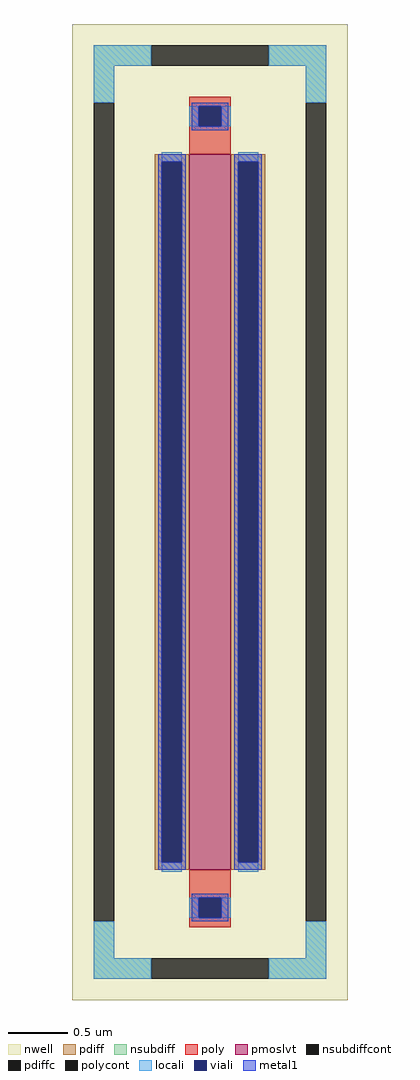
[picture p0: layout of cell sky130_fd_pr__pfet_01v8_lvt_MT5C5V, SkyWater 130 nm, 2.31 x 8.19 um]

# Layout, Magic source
magic
tech sky130A
magscale 1 2
<< nwell >>
rect -231 -819 231 819
<< pmoslvt >>
rect -35 -600 35 600
<< pdiff >>
rect -93 588 -35 600
rect -93 -588 -81 588
rect -47 -588 -35 588
rect -93 -600 -35 -588
rect 35 588 93 600
rect 35 -588 47 588
rect 81 -588 93 588
rect 35 -600 93 -588
<< pdiffc >>
rect -81 -588 -47 588
rect 47 -588 81 588
<< nsubdiff >>
rect -195 749 -99 783
rect 99 749 195 783
rect -195 687 -161 749
rect 161 687 195 749
rect -195 -749 -161 -687
rect 161 -749 195 -687
rect -195 -783 -99 -749
rect 99 -783 195 -749
<< nsubdiffcont >>
rect -99 749 99 783
rect -195 -687 -161 687
rect 161 -687 195 687
rect -99 -783 99 -749
<< poly >>
rect -35 681 35 697
rect -35 647 -19 681
rect 19 647 35 681
rect -35 600 35 647
rect -35 -647 35 -600
rect -35 -681 -19 -647
rect 19 -681 35 -647
rect -35 -697 35 -681
<< polycont >>
rect -19 647 19 681
rect -19 -681 19 -647
<< locali >>
rect -195 749 -99 783
rect 99 749 195 783
rect -195 687 -161 749
rect 161 687 195 749
rect -35 647 -19 681
rect 19 647 35 681
rect -81 588 -47 604
rect -81 -604 -47 -588
rect 47 588 81 604
rect 47 -604 81 -588
rect -35 -681 -19 -647
rect 19 -681 35 -647
rect -195 -749 -161 -687
rect 161 -749 195 -687
rect -195 -783 -99 -749
rect 99 -783 195 -749
<< viali >>
rect -19 647 19 681
rect -81 -588 -47 588
rect 47 -588 81 588
rect -19 -681 19 -647
<< metal1 >>
rect -31 681 31 687
rect -31 647 -19 681
rect 19 647 31 681
rect -31 641 31 647
rect -87 588 -41 600
rect -87 -588 -81 588
rect -47 -588 -41 588
rect -87 -600 -41 -588
rect 41 588 87 600
rect 41 -588 47 588
rect 81 -588 87 588
rect 41 -600 87 -588
rect -31 -647 31 -641
rect -31 -681 -19 -647
rect 19 -681 31 -647
rect -31 -687 31 -681
<< properties >>
string FIXED_BBOX -178 -766 178 766
string gencell sky130_fd_pr__pfet_01v8_lvt
string library sky130
string parameters w 6.0 l 0.35 m 1 nf 1 diffcov 100 polycov 100 guard 1 glc 1 grc 1 gtc 1 gbc 1 tbcov 100 rlcov 100 topc 1 botc 1 poverlap 0 doverlap 1 lmin 0.35 wmin 0.42 class mosfet compatible {sky130_fd_pr__pfet_01v8  sky130_fd_pr__pfet_01v8_lvt sky130_fd_pr__pfet_01v8_hvt  sky130_fd_pr__pfet_g5v0d10v5} full_metal 1 viasrc 100 viadrn 100 viagate 100 viagb 0 viagr 0 viagl 0 viagt 0 ad {int((nf+1)/2) * W/nf * 0.29} as {int((nf+2)/2) * W/nf * 0.29} pd {2*int((nf+1)/2) * (W/nf + 0.29)} ps {2*int((nf+2)/2) * (W/nf + 0.29)} nrd {0.29 / W} nrs {0.29 / W} sa 0 sb 0 sd 0 mult 1
<< end >>
